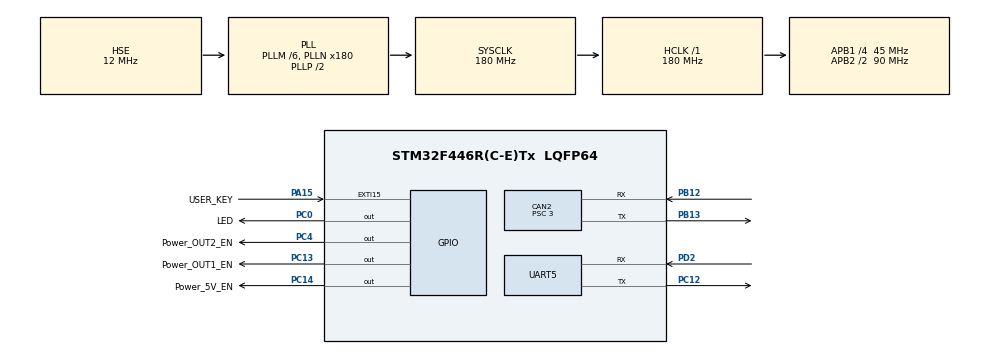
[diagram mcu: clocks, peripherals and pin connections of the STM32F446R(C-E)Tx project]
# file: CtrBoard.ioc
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CAN2.ABOM=ENABLE
CAN2.BS1=CAN_BS1_8TQ
CAN2.BS2=CAN_BS2_7TQ
CAN2.CalculateBaudRate=937500
CAN2.CalculateTimeBit=1066.66
CAN2.CalculateTimeQuantum=66.66666666666666
CAN2.Prescaler=3
Mcu.Family=STM32F4
Mcu.Name=STM32F446R(C-E)Tx
Mcu.Package=LQFP64
NVIC.CAN2_RX0_IRQn=true\:0\:0\:false\:false\:true\:true\:true
NVIC.EXTI15_10_IRQn=true\:0\:0\:false\:false\:true\:true\:true
NVIC.PriorityGroup=NVIC_PRIORITYGROUP_4
NVIC.TIM2_IRQn=true\:0\:0\:false\:false\:true\:true\:true
PA13.Mode=Serial_Wire
PA13.Signal=SYS_JTMS-SWDIO
PA14.Mode=Serial_Wire
PA14.Signal=SYS_JTCK-SWCLK
PA15.GPIO_Label=USER_KEY
PA15.GPIO_ModeDefaultEXTI=GPIO_MODE_IT_RISING
PA15.Signal=GPXTI15
PA8.Signal=I2C3_SCL
PB12.Mode=CAN_Activate
PB12.Signal=CAN2_RX
PB13.Mode=CAN_Activate
PB13.Signal=CAN2_TX
PB4.Signal=I2C3_SDA
PC0.GPIO_Label=LED
PC0.GPIO_ModeDefaultOutputPP=GPIO_MODE_OUTPUT_PP
PC0.GPIO_PuPd=GPIO_NOPULL
PC0.GPIO_Speed=GPIO_SPEED_FREQ_LOW
PC0.PinState=GPIO_PIN_RESET
PC0.Signal=GPIO_Output
PC12.Mode=Asynchronous
PC12.Signal=UART5_TX
PC13.GPIO_Label=Power_OUT1_EN
PC13.GPIO_ModeDefaultOutputPP=GPIO_MODE_OUTPUT_PP
PC13.GPIO_PuPd=GPIO_NOPULL
PC13.GPIO_Speed=GPIO_SPEED_FREQ_LOW
PC13.PinState=GPIO_PIN_RESET
PC13.Signal=GPIO_Output
PC14-OSC32_IN.GPIO_Label=Power_5V_EN
PC14-OSC32_IN.GPIO_ModeDefaultOutputPP=GPIO_MODE_OUTPUT_PP
PC14-OSC32_IN.GPIO_PuPd=GPIO_NOPULL
PC14-OSC32_IN.GPIO_Speed=GPIO_SPEED_FREQ_LOW
PC14-OSC32_IN.PinState=GPIO_PIN_RESET
PC14-OSC32_IN.Signal=GPIO_Output
PC4.GPIO_Label=Power_OUT2_EN
PC4.Signal=GPIO_Output
PD2.Mode=Asynchronous
PD2.Signal=UART5_RX
PH0-OSC_IN.Mode=HSE-External-Oscillator
PH0-OSC_IN.Signal=RCC_OSC_IN
PH1-OSC_OUT.Mode=HSE-External-Oscillator
PH1-OSC_OUT.Signal=RCC_OSC_OUT
ProjectManager.HeapSize=0x400
ProjectManager.StackSize=0x800
ProjectManager.TargetToolchain=MDK-ARM V5.27
RCC.AHBFreq_Value=180000000
RCC.APB1CLKDivider=RCC_HCLK_DIV4
RCC.APB1Freq_Value=45000000
RCC.APB1TimFreq_Value=90000000
RCC.APB2CLKDivider=RCC_HCLK_DIV2
RCC.APB2Freq_Value=90000000
RCC.APB2TimFreq_Value=180000000
RCC.CortexFreq_Value=180000000
RCC.HCLKFreq_Value=180000000
RCC.HSE_VALUE=12000000
RCC.PLLM=6
RCC.PLLN=180
RCC.PLLQ=5
RCC.PLLSAIP=RCC_PLLSAIP_DIV4
RCC.PLLSourceVirtual=RCC_PLLSOURCE_HSE
RCC.SYSCLKFreq_VALUE=180000000
RCC.SYSCLKSource=RCC_SYSCLKSOURCE_PLLCLK
RCC.USBFreq_Value=72000000
RCC.VCOOutputFreq_Value=360000000
TIM2.Period=40
TIM2.Prescaler=7199
UART5.VirtualMode=Asynchronous
VP_TIM2_VS_ClockSourceINT.Mode=Internal
board=custom

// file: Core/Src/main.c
/* USER CODE BEGIN Header */
/**
  ******************************************************************************
  * @file           : main.c
  * @brief          : Main program body
  ******************************************************************************
  * @attention
  *
  * <h2><center>&copy; Copyright (c) 2024 STMicroelectronics.
  * All rights reserved.</center></h2>
  *
  * This software component is licensed by ST under BSD 3-Clause license,
  * the "License"; You may not use this file except in compliance with the
  * License. You may obtain a copy of the License at:
  *                        opensource.org/licenses/BSD-3-Clause
  *
  ******************************************************************************
  */
/* USER CODE END Header */
#include "main.h"
#include "can.h"
#include "tim.h"
#include "usart.h"
#include "gpio.h"

/* USER CODE BEGIN Includes */
#include "stdio.h"
#include "cybergear.h"
#include "math.h"

#ifdef MPU6050_DRIVER
#include "i2c.h"
//#include "MPU6050.h"
#include "kalman.h"
#endif

#ifdef HX711
#include "hx711.h"
#endif
/* USER CODE END Includes */

/* USER CODE BEGIN PD */
#define MPU6050_DEVICE_ID 0x68
/* USER CODE END PD */

void SystemClock_Config(void);

/* USER CODE BEGIN 0 */

int fputc(int ch, FILE *f)//printf
{
	HAL_UART_Transmit(&huart5, (uint8_t *)&ch, 1,0xffff);
	return (ch);
}
state nextstate = IDLE;

void HAL_GPIO_EXTI_Callback(uint16_t GPIO_Pin)
{
  if(GPIO_Pin==USER_KEY_Pin)
  {
		if (nextstate == Start_wait) nextstate = Slow_start;
		else nextstate = Slow_stop;
  }
}
/* USER CODE END 0 */

int main(void)
{
  /* USER CODE BEGIN 1 */
	char str[30];
	float pitch = 0.0f;
	const float minTorque  = 0.5;
	const float maxTorque  = 4;
	float outTorque = 0;

	uint8_t stop_count = 0;
	uint8_t counter = 0;

	#ifdef MPU6050_DRIVER
	long data[9];
	uint8_t ID;
	#endif
  /* USER CODE END 1 */

  /* MCU Configuration--------------------------------------------------------*/

  /* Reset of all peripherals, Initializes the Flash interface and the Systick. */
  HAL_Init();

  /* USER CODE BEGIN Init */
	linked_state(&nextstate);
  /* USER CODE END Init */

  /* Configure the system clock */
  SystemClock_Config();

  /* Initialize all configured peripherals */
  MX_GPIO_Init();
  MX_TIM2_Init();
  MX_CAN2_Init();
  MX_UART5_Init();
  /* USER CODE BEGIN 2 */

	// write LED
	HAL_GPIO_WritePin(GPIOC, LED_Pin,0);
	HAL_Delay(10);

	HAL_GPIO_WritePin(GPIOC, Power_5V_EN_Pin,1);
	HAL_Delay(10);

#ifdef HX711
	//enable hx711
	hx711_init(&loadcell, GPIOC, HX711_CLK_Pin, GPIOC, HX711_DATA_Pin);
	hx711_coef_set(&loadcell, -438.6); // read afer calibration
  hx711_tare(&loadcell, 30);
#endif

#ifdef MPU6050_DRIVER
	//---------------initialize MPU6050-----------------------
	//Soft_I2C_Init();

	MPU6050_Init();
	while(MPU6050_GetID() != MPU6050_DEVICE_ID)
	{
		printf("Unable to verify MPU6050 ID: %d\n",ID);
		HAL_Delay(100);
		MPU6050_Init();
	}
#endif

	//Enable CAN2 power
	HAL_GPIO_WritePin(GPIOC, Power_OUT2_EN_Pin,1);
	HAL_Delay(10);

	//CAN start
	MX_CAN2_Filter_Init();
	HAL_TIM_Base_Start_IT(&htim2); // start timer for can2

  /* USER CODE END 2 */

  /* Infinite loop */
  /* USER CODE BEGIN WHILE */

  while (1)
  {

		HAL_Delay(5);

#ifdef MPU6050_DRIVER
		/*
		timestamp = HAL_GetTick();	//current time
		mpu_module_sampling();			//MPL sample rate
		if (mpu_read_euler(data, &timestamp))
		{
		  printf("1: %ld, 2: %ld, 3: %ld",data[0], data[1], data[2]);
			pitch = 1.0f*data[0]/65536.f;					//Convert q16 format to degrees
			//sprintf(str,"%.2lf/%.2lf/%.2lf\r\n",roll, pitch, yaw);
			//CDC_Transmit_FS(str,30);
		}
		*/

		pitch = Get_kalman_angle() ;
#endif
		if (nextstate == Moter_init){
				stop_count = 0;
				init_cybergear(&mi_motor, 0x7F, Motion_mode);

				nextstate = Start_wait;
		}
		//slow start if this is the first
		if (nextstate == Slow_start){
				start_cybergear(&mi_motor);

				//get the first angle
				if (pitch < 0 && pitch > -45 ){
						outTorque = minTorque;
				}
				//case 2: 0 < pitch < 150, output sin of angle
				else if (pitch >= 0 && pitch <= 150){
					outTorque = (maxTorque-minTorque) * sin(pitch / 180 * 3.14159) + minTorque;
					if (outTorque > maxTorque) outTorque = maxTorque;
				}
				//slow start
				for (float tmpTorque = 0; tmpTorque < outTorque; tmpTorque+=0.5){
						HAL_Delay(100);
						motor_controlmode(&mi_motor, tmpTorque, 0, 0, 0 , 0);
				}
				nextstate = Read_gyro;
		}
		else if (nextstate == Read_gyro){
				counter = 0;
				//angle to torque calculation
				//case 1: -45 < pitch < 0, output min torque
				if (pitch < 0 && pitch > -45 ){
					outTorque = minTorque;
					nextstate = Moter_output;
				}
				//case 2: 0 < pitch < 150, output sin of angle
				else if (pitch >= 0 && pitch <= 150){
					outTorque = (maxTorque-minTorque) * sin(pitch / 180 * 3.14159) + minTorque;
					if (outTorque > maxTorque) outTorque = maxTorque;
					nextstate = Moter_output;
				}
				//case 3: unsafe angle zone, jump to emergency stop
				else {
					nextstate= Slow_stop;
				}
		}
		else if (nextstate == Moter_output){
				motor_controlmode(&mi_motor, outTorque, 0, 0, 0 , 0);
		}
		/*
		else if (nextstate == Wait_response){
				counter++;
				if (counter == 0x40){
					stop_count++;
					if (stop_count == 3)
						nextstate = STOP;
					else
						nextstate = Read_gyro;
				}
		}
		*/
		else if (nextstate == Slow_stop){
				for (; outTorque>0; outTorque-=0.5){
						motor_controlmode(&mi_motor, outTorque, 0, 0, 0 , 0);
						HAL_Delay(100);
				}
				stop_cybergear(&mi_motor, 1);
				nextstate=Moter_init;
		}
		else if (nextstate == STOP){
				stop_cybergear(&mi_motor, 1);
				HAL_Delay(2000);
				nextstate=Moter_init;
		}

#ifdef HX711
		float weight;
		HAL_Delay(10);
		weight = hx711_weight(&loadcell, 10);
		//printf("w: %.2f\r\n",weight);
		sprintf(str,"w: %.2f\r\n",weight);
		CDC_Transmit_FS(str,15);
#endif

    /* USER CODE END WHILE */

  }
}

void SystemClock_Config(void)
{
  RCC_OscInitTypeDef RCC_OscInitStruct = {0};
  RCC_ClkInitTypeDef RCC_ClkInitStruct = {0};

  /** Configure the main internal regulator output voltage
  */
  __HAL_RCC_PWR_CLK_ENABLE();
  __HAL_PWR_VOLTAGESCALING_CONFIG(PWR_REGULATOR_VOLTAGE_SCALE1);
  /** Initializes the RCC Oscillators according to the specified parameters
  * in the RCC_OscInitTypeDef structure.
  */
  RCC_OscInitStruct.OscillatorType = RCC_OSCILLATORTYPE_HSE;
  RCC_OscInitStruct.HSEState = RCC_HSE_ON;
  RCC_OscInitStruct.PLL.PLLState = RCC_PLL_ON;
  RCC_OscInitStruct.PLL.PLLSource = RCC_PLLSOURCE_HSE;
  RCC_OscInitStruct.PLL.PLLM = 6;
  RCC_OscInitStruct.PLL.PLLN = 180;
  RCC_OscInitStruct.PLL.PLLP = RCC_PLLP_DIV2;
  RCC_OscInitStruct.PLL.PLLQ = 5;
  RCC_OscInitStruct.PLL.PLLR = 2;
  if (HAL_RCC_OscConfig(&RCC_OscInitStruct) != HAL_OK)
  {
    Error_Handler();
  }
  /** Activate the Over-Drive mode
  */
  if (HAL_PWREx_EnableOverDrive() != HAL_OK)
  {
    Error_Handler();
  }
  /** Initializes the CPU, AHB and APB buses clocks
  */
  RCC_ClkInitStruct.ClockType = RCC_CLOCKTYPE_HCLK|RCC_CLOCKTYPE_SYSCLK
                              |RCC_CLOCKTYPE_PCLK1|RCC_CLOCKTYPE_PCLK2;
  RCC_ClkInitStruct.SYSCLKSource = RCC_SYSCLKSOURCE_PLLCLK;
  RCC_ClkInitStruct.AHBCLKDivider = RCC_SYSCLK_DIV1;
  RCC_ClkInitStruct.APB1CLKDivider = RCC_HCLK_DIV4;
  RCC_ClkInitStruct.APB2CLKDivider = RCC_HCLK_DIV2;

  if (HAL_RCC_ClockConfig(&RCC_ClkInitStruct, FLASH_LATENCY_5) != HAL_OK)
  {
    Error_Handler();
  }
}

void Error_Handler(void)
{
  __disable_irq();
  while (1)
  {
  }
}

/************************ (C) COPYRIGHT STMicroelectronics *****END OF FILE****/
